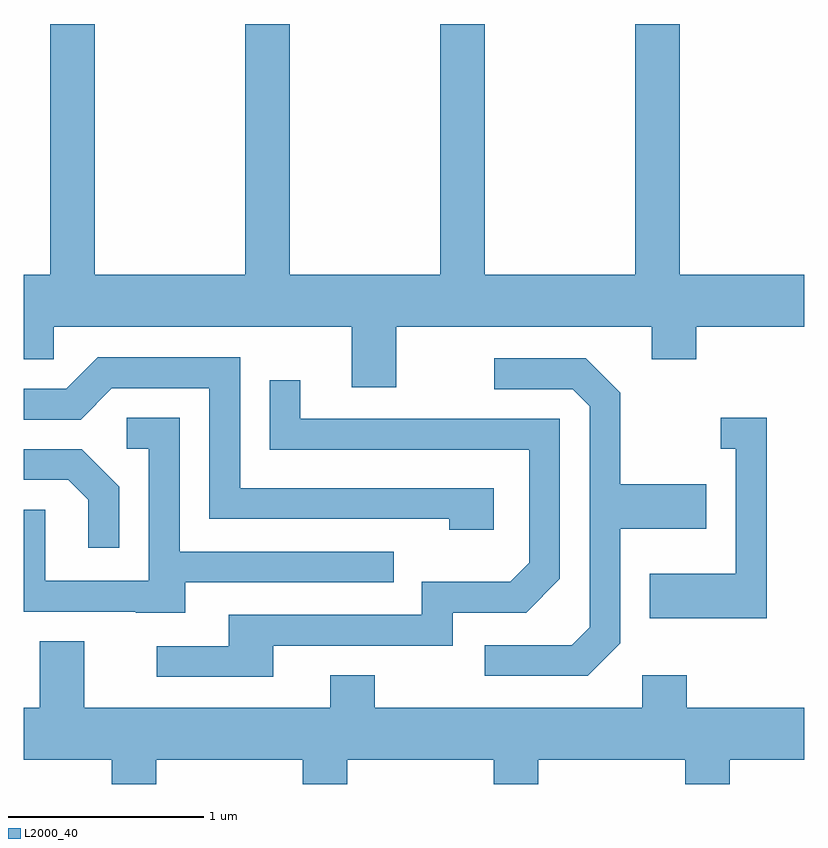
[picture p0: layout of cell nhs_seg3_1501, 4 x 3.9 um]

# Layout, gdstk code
import gdstk
lib = gdstk.Library(unit=1e-6, precision=1e-09)
def P(c, l, *ps):  # polygons
    for p in ps: c.add(gdstk.Polygon(p, *l))
L2000_40 = (2000, 40)

nhs_seg3_1501 = lib.new_cell('nhs_seg3_1501')
P(nhs_seg3_1501, L2000_40, [(231.519,1128.236),(232.831,1128.236),(232.831,1128.071),(233.059,1128.071),(233.059,1128.236),(233.611,1128.236),(233.611,1128.504),(232.974,1128.504),(232.974,1129.789),(232.746,1129.789),(232.746,1128.504),(231.974,1128.504),(231.974,1129.789),(231.746,1129.789),(231.746,1128.504),(230.974,1128.504),(230.974,1129.789),(230.746,1129.789),(230.746,1128.504),(229.974,1128.504),(229.974,1129.789),(229.746,1129.789),(229.746,1128.504),(229.611,1128.504),(229.611,1128.071),(229.764,1128.071),(229.764,1128.236),(231.291,1128.236),(231.291,1127.926),(231.519,1127.926)],
  [(232.019,1127.409),(230.719,1127.409),(230.719,1128.079),(229.989,1128.079),(229.829,1127.919),(229.611,1127.919),(229.611,1127.761),(229.902,1127.761),(230.062,1127.921),(230.561,1127.921),(230.561,1127.251),(231.791,1127.251),(231.791,1127.196),(232.019,1127.196)],
  [(232.669,1126.614),(232.669,1127.201),(233.109,1127.201),(233.109,1127.429),(232.669,1127.429),(232.669,1127.897),(232.492,1128.074),(232.023,1128.074),(232.023,1127.916),(232.424,1127.916),(232.511,1127.829),(232.511,1126.697),(232.419,1126.604),(231.973,1126.604),(231.973,1126.446),(232.502,1126.446)],
  [(230.889,1126.601),(231.809,1126.601),(231.809,1126.771),(232.187,1126.771),(232.359,1126.944),(232.359,1127.764),(231.029,1127.764),(231.029,1127.963),(230.871,1127.963),(230.871,1127.606),(232.201,1127.606),(232.201,1127.027),(232.104,1126.929),(231.651,1126.929),(231.651,1126.759),(230.661,1126.759),(230.661,1126.599),(230.293,1126.599),(230.293,1126.441),(230.889,1126.441)],
  [(230.439,1126.926),(231.508,1126.926),(231.508,1127.084),(230.409,1127.084),(230.409,1127.769),(230.138,1127.769),(230.138,1127.611),(230.251,1127.611),(230.251,1126.934),(229.719,1126.934),(229.719,1127.299),(229.611,1127.299),(229.611,1126.776),(230.185,1126.776),(230.185,1126.771),(230.439,1126.771)],
  [(233.419,1127.769),(233.183,1127.769),(233.183,1127.611),(233.261,1127.611),(233.261,1126.969),(232.821,1126.969),(232.821,1126.741),(233.419,1126.741)],
  [(230.099,1127.417),(229.907,1127.609),(229.611,1127.609),(229.611,1127.451),(229.839,1127.451),(229.941,1127.349),(229.941,1127.103),(230.099,1127.103)],
  [(230.289,1126.016),(231.041,1126.016),(231.041,1125.892),(231.269,1125.892),(231.269,1126.016),(232.021,1126.016),(232.021,1125.892),(232.249,1125.892),(232.249,1126.016),(233.001,1126.016),(233.001,1125.892),(233.229,1125.892),(233.229,1126.016),(233.611,1126.016),(233.611,1126.284),(233.009,1126.284),(233.009,1126.449),(232.781,1126.449),(232.781,1126.284),(231.409,1126.284),(231.409,1126.449),(231.181,1126.449),(231.181,1126.284),(229.919,1126.284),(229.919,1126.624),(229.691,1126.624),(229.691,1126.284),(229.611,1126.284),(229.611,1126.016),(230.061,1126.016),(230.061,1125.892),(230.289,1125.892)])

lib.write_gds('nhs_seg3_1501.gds')
